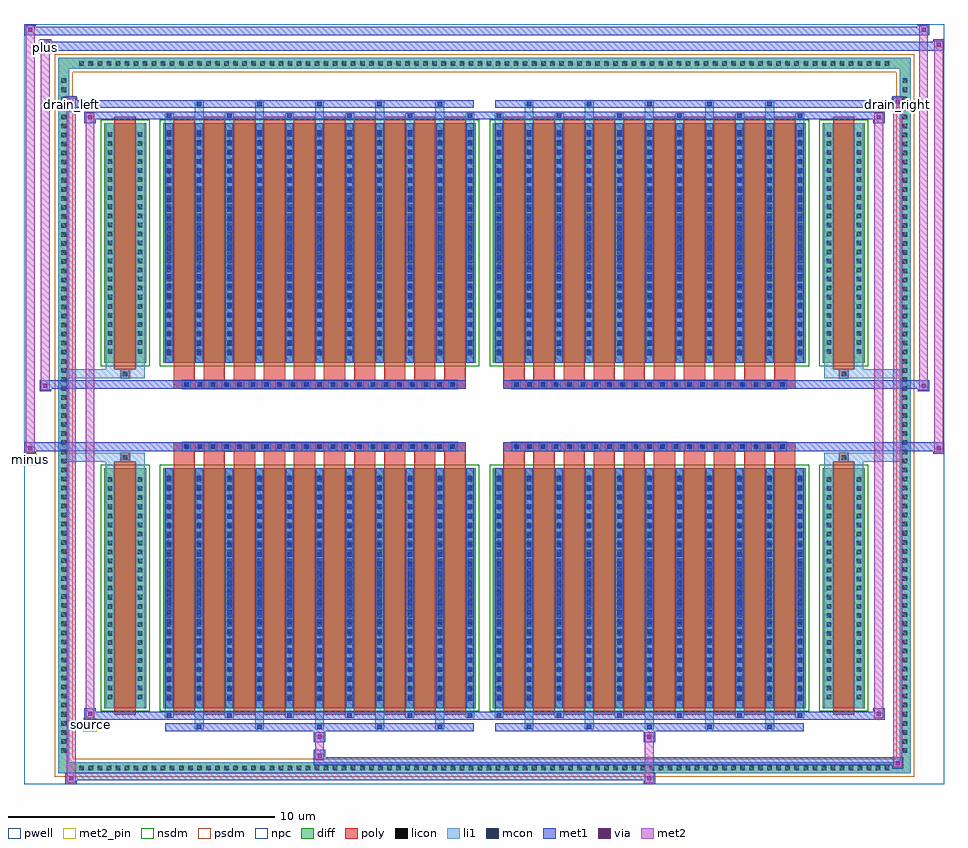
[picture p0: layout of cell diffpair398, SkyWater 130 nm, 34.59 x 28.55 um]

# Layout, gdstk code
import gdstk
lib = gdstk.Library(unit=1e-6, precision=5e-09)
def R(c, l, rs):  # rectangles x0, y0, x1, y1
    for r in rs: c.add(gdstk.rectangle(r[:2], r[2:], *l))
def A(c, l, x, y, w, h, nx, ny, dx, dy):  # array of equal rectangles
    R(c, l, [(x+i*dx, y+j*dy, x+i*dx+w, y+j*dy+h) for i in range(nx) for j in range(ny)])
def P(c, l, *ps):  # polygons
    for p in ps: c.add(gdstk.Polygon(p, *l))
pwell = (64, 44)
diff = (65, 20)
poly = (66, 20)
licon = (66, 44)
li1 = (67, 20)
mcon = (67, 44)
met1 = (68, 20)
via = (68, 44)
met2_pin = (69, 16)
met2 = (69, 20)
nsdm = (93, 44)
psdm = (94, 20)
npc = (95, 20)

diffpair398 = lib.new_cell('diffpair398')
R(diffpair398, pwell, [(-17.28,-13.84,17.28,14.71), (-14.6,-12.03,-0.01,-0.805), (0.01,-12.03,14.6,-0.805), (-14.6,0.805,-0.01,12.03), (0.01,0.805,14.6,12.03)])
A(diffpair398, diff, -15.335, -13.44, 0.41, 0.41, 90, 2, 0.34, 26.47)
A(diffpair398, diff, -16.01, -12.785, 0.41, 0.41, 1, 75, 0, 0.34)
A(diffpair398, diff, 15.6, -12.785, 0.41, 0.41, 1, 75, 0, 0.34)
R(diffpair398, diff, [(-15.335,-13.44,15.335,-13.03), (-16.01,-12.785,-15.6,12.785), (15.6,-12.785,16.01,12.785), (-14.29,-10.985,-12.71,-1.985), (-12.07,-10.985,-0.32,-1.985), (0.32,-10.985,12.07,-1.985), (12.71,-10.985,14.29,-1.985), (-14.29,1.985,-12.71,10.985), (-12.07,1.985,-0.32,10.985), (0.32,1.985,12.07,10.985), (12.71,1.985,14.29,10.985), (-15.335,13.03,15.335,13.44)])
P(diffpair398, diff, [(16.01,13.44),(-16.01,13.44),(-16.01,-13.03),(-15.6,-13.03),(-15.6,13.03),(15.6,13.03),(15.6,-13.03),(-15.6,-13.03),(-16.01,-13.03),(-16.01,-13.44),(16.01,-13.44)])
A(diffpair398, poly, -11.68, -11.235, 0.8, 9.5, 10, 2, 1.13, 12.97)
A(diffpair398, poly, 0.71, -11.235, 0.8, 9.5, 10, 2, 1.13, 12.97)
A(diffpair398, poly, -11.68, -1.735, 0.8, 0.4, 10, 2, 1.13, 3.07)
A(diffpair398, poly, 0.71, -1.735, 0.8, 0.4, 10, 2, 1.13, 3.07)
A(diffpair398, poly, -11.36, -1.335, 0.33, 0.33, 21, 2, 0.5, 2.34)
A(diffpair398, poly, 1.03, -1.335, 0.33, 0.33, 21, 2, 0.5, 2.34)
R(diffpair398, poly, [(-13.9,-11.235,-13.1,-1.735), (13.1,-11.235,13.9,-1.735), (-13.665,-1.735,-13.335,-1.405), (-13.665,-1.735,-13.335,-1.405), (13.335,-1.735,13.665,-1.405), (13.335,-1.735,13.665,-1.405), (-11.68,-1.335,-0.71,-1.005), (0.71,-1.335,11.68,-1.005), (-11.68,1.005,-0.71,1.335), (0.71,1.005,11.68,1.335), (-13.665,1.405,-13.335,1.735), (-13.665,1.405,-13.335,1.735), (13.335,1.405,13.665,1.735), (13.335,1.405,13.665,1.735), (-13.9,1.735,-13.1,11.235), (13.1,1.735,13.9,11.235)])
A(diffpair398, licon, -15.215, -13.32, 0.17, 0.17, 90, 2, 0.34, 26.47)
A(diffpair398, licon, -15.89, -12.665, 0.17, 0.17, 1, 75, 0, 0.34)
A(diffpair398, licon, 15.72, -12.665, 0.17, 0.17, 1, 75, 0, 0.34)
A(diffpair398, licon, -14.15, -10.65, 0.17, 0.17, 1, 25, 0, 0.34)
A(diffpair398, licon, -13.02, -10.65, 0.17, 0.17, 1, 25, 0, 0.34)
A(diffpair398, licon, -11.93, -10.65, 0.17, 0.17, 11, 25, 1.13, 0.34)
A(diffpair398, licon, 0.46, -10.65, 0.17, 0.17, 11, 25, 1.13, 0.34)
A(diffpair398, licon, 12.85, -10.65, 0.17, 0.17, 1, 25, 0, 0.34)
A(diffpair398, licon, 13.98, -10.65, 0.17, 0.17, 1, 25, 0, 0.34)
A(diffpair398, licon, -11.28, -1.255, 0.17, 0.17, 21, 2, 0.5, 2.34)
A(diffpair398, licon, 1.11, -1.255, 0.17, 0.17, 21, 2, 0.5, 2.34)
A(diffpair398, licon, -14.15, 2.32, 0.17, 0.17, 1, 25, 0, 0.34)
A(diffpair398, licon, -13.02, 2.32, 0.17, 0.17, 1, 25, 0, 0.34)
A(diffpair398, licon, -11.93, 2.32, 0.17, 0.17, 11, 25, 1.13, 0.34)
A(diffpair398, licon, 0.46, 2.32, 0.17, 0.17, 11, 25, 1.13, 0.34)
A(diffpair398, licon, 12.85, 2.32, 0.17, 0.17, 1, 25, 0, 0.34)
A(diffpair398, licon, 13.98, 2.32, 0.17, 0.17, 1, 25, 0, 0.34)
R(diffpair398, licon, [(-13.585,-1.655,-13.415,-1.485), (13.415,-1.655,13.585,-1.485), (-13.585,1.485,-13.415,1.655), (13.415,1.485,13.585,1.655)])
A(diffpair398, li1, -15.295, -13.4, 0.33, 0.33, 90, 2, 0.34, 26.47)
A(diffpair398, li1, -15.97, -12.745, 0.33, 0.33, 1, 75, 0, 0.34)
A(diffpair398, li1, 15.64, -12.745, 0.33, 0.33, 1, 75, 0, 0.34)
A(diffpair398, li1, -10.88, -11.79, 0.33, 0.805, 5, 2, 2.26, 22.775)
A(diffpair398, li1, -10.8, -11.79, 0.17, 0.17, 5, 2, 2.26, 23.41)
A(diffpair398, li1, 1.51, -11.79, 0.33, 0.805, 5, 2, 2.26, 22.775)
A(diffpair398, li1, 1.59, -11.79, 0.17, 0.17, 5, 2, 2.26, 23.41)
A(diffpair398, li1, -12.01, -11.36, 0.33, 0.375, 6, 2, 2.26, 22.345)
A(diffpair398, li1, -11.93, -11.36, 0.17, 0.17, 6, 2, 2.26, 22.55)
A(diffpair398, li1, 0.38, -11.36, 0.33, 0.375, 6, 2, 2.26, 22.345)
A(diffpair398, li1, 0.46, -11.36, 0.17, 0.17, 6, 2, 2.26, 22.55)
A(diffpair398, li1, -12.01, -10.985, 0.33, 9, 11, 2, 1.13, 12.97)
A(diffpair398, li1, 0.38, -10.985, 0.33, 9, 11, 2, 1.13, 12.97)
A(diffpair398, li1, -14.23, -10.73, 0.33, 0.33, 1, 25, 0, 0.34)
A(diffpair398, li1, -13.1, -10.73, 0.33, 0.33, 1, 25, 0, 0.34)
A(diffpair398, li1, -12.01, -10.73, 0.33, 0.33, 11, 25, 1.13, 0.34)
A(diffpair398, li1, 0.38, -10.73, 0.33, 0.33, 11, 25, 1.13, 0.34)
A(diffpair398, li1, 12.77, -10.73, 0.33, 0.33, 1, 25, 0, 0.34)
A(diffpair398, li1, 13.9, -10.73, 0.33, 0.33, 1, 25, 0, 0.34)
A(diffpair398, li1, -11.93, -10.71, 0.17, 0.17, 11, 24, 1.13, 0.36)
A(diffpair398, li1, -11.93, -10.71, 0.17, 8.45, 11, 2, 1.13, 12.97)
A(diffpair398, li1, 0.46, -10.71, 0.17, 0.17, 11, 24, 1.13, 0.36)
A(diffpair398, li1, 0.46, -10.71, 0.17, 8.45, 11, 2, 1.13, 12.97)
A(diffpair398, li1, -11.36, -1.335, 0.33, 0.33, 21, 2, 0.5, 2.34)
A(diffpair398, li1, 1.03, -1.335, 0.33, 0.33, 21, 2, 0.5, 2.34)
A(diffpair398, li1, -14.23, 2.24, 0.33, 0.33, 1, 25, 0, 0.34)
A(diffpair398, li1, -13.1, 2.24, 0.33, 0.33, 1, 25, 0, 0.34)
A(diffpair398, li1, -12.01, 2.24, 0.33, 0.33, 11, 25, 1.13, 0.34)
A(diffpair398, li1, 0.38, 2.24, 0.33, 0.33, 11, 25, 1.13, 0.34)
A(diffpair398, li1, 12.77, 2.24, 0.33, 0.33, 1, 25, 0, 0.34)
A(diffpair398, li1, 13.9, 2.24, 0.33, 0.33, 1, 25, 0, 0.34)
A(diffpair398, li1, -11.93, 2.26, 0.17, 0.17, 11, 24, 1.13, 0.36)
A(diffpair398, li1, 0.46, 2.26, 0.17, 0.17, 11, 24, 1.13, 0.36)
R(diffpair398, li1, [(-16.01,-13.44,-15.6,-13.03), (-16.01,-13.44,-15.6,-13.03), (-15.6,-13.44,15.6,-13.03), (15.6,-13.44,16.01,-13.03), (15.6,-13.44,16.01,-13.03), (-16.01,-13.03,-15.6,13.03), (15.6,-13.03,16.01,13.03), (-14.23,-10.985,-13.9,-1.985), (-13.1,-10.985,-12.77,-1.985), (12.77,-10.985,13.1,-1.985), (13.9,-10.985,14.23,-1.985), (-14.23,-1.985,-13.9,-1.405), (-13.1,-1.985,-12.77,-1.405), (12.77,-1.985,13.1,-1.405), (13.9,-1.985,14.23,-1.405), (-16.01,-1.735,-13.665,-1.405), (-14.23,-1.735,-13.665,-1.405), (-13.665,-1.735,-13.335,-1.405), (-13.335,-1.735,-12.77,-1.405), (12.77,-1.735,13.335,-1.405), (13.335,-1.735,13.665,-1.405), (13.335,-1.735,16.01,-1.405), (13.665,-1.735,14.23,-1.405), (-16.01,1.405,-13.665,1.735), (-14.23,1.405,-13.665,1.735), (-14.23,1.405,-13.9,1.985), (-13.665,1.405,-13.335,1.735), (-13.335,1.405,-12.77,1.735), (-13.1,1.405,-12.77,1.985), (12.77,1.405,13.335,1.735), (12.77,1.405,13.1,1.985), (13.335,1.405,13.665,1.735), (13.335,1.405,16.01,1.735), (13.665,1.405,14.23,1.735), (13.9,1.405,14.23,1.985), (-14.23,1.985,-13.9,10.985), (-13.1,1.985,-12.77,10.985), (12.77,1.985,13.1,10.985), (13.9,1.985,14.23,10.985), (-16.01,13.03,-15.6,13.44), (-16.01,13.03,-15.6,13.44), (-15.6,13.03,15.6,13.44), (15.6,13.03,16.01,13.44), (15.6,13.03,16.01,13.44)])
A(diffpair398, mcon, -10.8, -11.79, 0.17, 0.17, 5, 2, 2.26, 23.41)
A(diffpair398, mcon, 1.59, -11.79, 0.17, 0.17, 5, 2, 2.26, 23.41)
A(diffpair398, mcon, -11.93, -11.36, 0.17, 0.17, 6, 2, 2.26, 22.55)
A(diffpair398, mcon, 0.46, -11.36, 0.17, 0.17, 6, 2, 2.26, 22.55)
A(diffpair398, mcon, -11.93, -10.71, 0.17, 0.17, 11, 24, 1.13, 0.36)
A(diffpair398, mcon, 0.46, -10.71, 0.17, 0.17, 11, 24, 1.13, 0.36)
A(diffpair398, mcon, -11.28, -1.255, 0.17, 0.17, 21, 2, 0.5, 2.34)
A(diffpair398, mcon, 1.11, -1.255, 0.17, 0.17, 21, 2, 0.5, 2.34)
A(diffpair398, mcon, -11.93, 2.26, 0.17, 0.17, 11, 24, 1.13, 0.36)
A(diffpair398, mcon, 0.46, 2.26, 0.17, 0.17, 11, 24, 1.13, 0.36)
A(diffpair398, met1, -10.86, -11.85, 0.29, 0.29, 5, 2, 2.26, 23.41)
A(diffpair398, met1, 1.53, -11.85, 0.29, 0.29, 5, 2, 2.26, 23.41)
A(diffpair398, met1, -11.99, -11.42, 0.29, 0.29, 6, 2, 2.26, 22.55)
A(diffpair398, met1, 0.4, -11.42, 0.29, 0.29, 6, 2, 2.26, 22.55)
A(diffpair398, met1, -11.99, -10.985, 0.29, 9, 11, 2, 1.13, 12.97)
A(diffpair398, met1, 0.4, -10.985, 0.29, 9, 11, 2, 1.13, 12.97)
A(diffpair398, met1, -11.99, -10.77, 0.29, 0.29, 11, 24, 1.13, 0.36)
A(diffpair398, met1, 0.4, -10.77, 0.29, 0.29, 11, 24, 1.13, 0.36)
A(diffpair398, met1, -11.34, -1.315, 0.29, 0.29, 21, 2, 0.5, 2.34)
A(diffpair398, met1, 1.05, -1.315, 0.29, 0.29, 21, 2, 0.5, 2.34)
A(diffpair398, met1, -11.99, 2.2, 0.29, 0.29, 11, 24, 1.13, 0.36)
A(diffpair398, met1, 0.4, 2.2, 0.29, 0.29, 11, 24, 1.13, 0.36)
R(diffpair398, met1, [(-15.74,-13.84,-15.31,-13.41), (5.98,-13.84,6.41,-13.41), (-15.74,-13.7,6.41,-13.41), (15.31,-13.27,15.74,-12.84), (-6.41,-13.13,15.74,-12.84), (-6.41,-12.99,-5.98,-12.56), (-6.41,-12.28,-5.98,-11.85), (5.98,-12.28,6.41,-11.85), (-11.99,-11.85,-0.4,-11.56), (0.4,-11.85,11.99,-11.56), (-15.03,-11.42,-14.6,-10.99), (-15.03,-11.42,-11.99,-11.13), (-11.99,-11.42,-0.4,-11.13), (-0.4,-11.42,0.4,-11.13), (0.4,-11.42,11.99,-11.13), (11.99,-11.42,15.03,-11.13), (14.6,-11.42,15.03,-10.99), (-17.28,-1.435,-16.85,-1.005), (16.85,-1.435,17.28,-1.005), (-17.28,-1.335,-0.71,-1.005), (-11.68,-1.335,-0.71,-1.005), (0.71,-1.335,11.68,-1.005), (0.71,-1.335,17.28,-1.005), (-16.71,0.905,-16.28,1.335), (16.28,0.905,16.71,1.335), (-16.71,1.005,-11.68,1.335), (-11.68,1.005,-0.71,1.335), (0.71,1.005,11.68,1.335), (11.68,1.005,16.71,1.335), (-15.03,10.99,-14.6,11.42), (14.6,10.99,15.03,11.42), (-15.03,11.13,-11.99,11.42), (-11.99,11.13,-0.4,11.42), (-0.4,11.13,0.4,11.42), (0.4,11.13,11.99,11.42), (11.99,11.13,15.03,11.42), (-15.74,11.56,-15.31,11.99), (-15.74,11.56,-11.99,11.85), (-11.99,11.56,-0.4,11.85), (0.4,11.56,11.99,11.85), (11.99,11.56,15.74,11.85), (15.31,11.56,15.74,11.99), (-16.71,13.71,-16.28,14.14), (-16.71,13.71,-14.6,14.04), (-14.6,13.71,14.6,14.04), (14.6,13.71,17.28,14.04), (16.85,13.71,17.28,14.14), (-17.28,14.28,-16.85,14.71), (-17.28,14.28,-14.6,14.61), (-14.6,14.28,14.6,14.61), (14.6,14.28,16.71,14.61), (16.28,14.28,16.71,14.71)])
R(diffpair398, via, [(-15.6,-13.7,-15.45,-13.55), (6.12,-13.7,6.27,-13.55), (15.45,-13.13,15.6,-12.98), (-6.27,-12.85,-6.12,-12.7), (-6.27,-12.14,-6.12,-11.99), (6.12,-12.14,6.27,-11.99), (-14.89,-11.28,-14.74,-11.13), (14.74,-11.28,14.89,-11.13), (-17.14,-1.295,-16.99,-1.145), (16.99,-1.295,17.14,-1.145), (-16.57,1.045,-16.42,1.195), (16.42,1.045,16.57,1.195), (-14.89,11.13,-14.74,11.28), (14.74,11.13,14.89,11.28), (-15.6,11.7,-15.45,11.85), (15.45,11.7,15.6,11.85), (-16.57,13.85,-16.42,14), (16.99,13.85,17.14,14), (-17.14,14.42,-16.99,14.57), (16.42,14.42,16.57,14.57)])
R(diffpair398, met2_pin, [(-15.065,-11.87,-14.565,-11.37), (-17.315,-1.885,-16.815,-1.385), (-15.775,11.44,-15.275,11.94), (15.275,11.44,15.775,11.94), (-16.745,13.59,-16.245,14.09)])
R(diffpair398, met2, [(-15.69,-13.79,-15.36,-13.46), (-15.69,-13.79,-15.36,11.94), (6.03,-13.79,6.36,-13.46), (6.03,-13.46,6.36,-12.23), (15.36,-13.22,15.69,-12.89), (15.36,-13.22,15.69,11.94), (-6.36,-12.94,-6.03,-12.61), (-6.36,-12.61,-6.03,-12.23), (-6.36,-12.23,-6.03,-11.9), (6.03,-12.23,6.36,-11.9), (-14.98,-11.37,-14.65,-11.04), (-14.98,-11.37,-14.65,11.37), (14.65,-11.37,14.98,-11.04), (14.65,-11.37,14.98,11.37), (-17.23,-1.385,-16.9,-1.055), (-17.23,-1.385,-16.9,14.66), (16.9,-1.385,17.23,-1.055), (16.9,-1.385,17.23,14.09), (-16.66,0.955,-16.33,1.285), (-16.66,0.955,-16.33,14.09), (16.33,0.955,16.66,1.285), (16.33,0.955,16.66,14.66), (-14.98,11.04,-14.65,11.37), (14.65,11.04,14.98,11.37), (-15.69,11.61,-15.36,11.94), (15.36,11.61,15.69,11.94), (-16.66,13.76,-16.33,14.09), (16.9,13.76,17.23,14.09), (-17.23,14.33,-16.9,14.66), (16.33,14.33,16.66,14.66)])
P(diffpair398, met2, [(17.23,-1.385),(17.23,-1.385),(17.23,-1.055),(17.23,-1.055)],
  [(17.23,13.76),(17.23,13.76),(17.23,14.09),(17.23,14.09)],
  [(-16.9,-1.385),(-16.9,-1.385),(-16.9,-1.055),(-16.9,-1.055)],
  [(-16.9,14.33),(-16.9,14.33),(-16.9,14.66),(-16.9,14.66)],
  [(16.66,0.955),(16.66,0.955),(16.66,1.285),(16.66,1.285)],
  [(16.66,14.33),(16.66,14.33),(16.66,14.66),(16.66,14.66)],
  [(-16.33,0.955),(-16.33,0.955),(-16.33,1.285),(-16.33,1.285)],
  [(-16.33,13.76),(-16.33,13.76),(-16.33,14.09),(-16.33,14.09)],
  [(-15.36,-13.79),(-15.36,-13.79),(-15.36,-13.46),(-15.36,-13.46)],
  [(-15.36,11.61),(-15.36,11.61),(-15.36,11.94),(-15.36,11.94)],
  [(15.69,-13.22),(15.69,-13.22),(15.69,-12.89),(15.69,-12.89)],
  [(15.69,11.61),(15.69,11.61),(15.69,11.94),(15.69,11.94)],
  [(-14.65,-11.37),(-14.65,-11.37),(-14.65,-11.04),(-14.65,-11.04)],
  [(-14.65,11.04),(-14.65,11.04),(-14.65,11.37),(-14.65,11.37)],
  [(14.98,-11.37),(14.98,-11.37),(14.98,-11.04),(14.98,-11.04)],
  [(14.98,11.04),(14.98,11.04),(14.98,11.37),(14.98,11.37)])
R(diffpair398, nsdm, [(-14.42,-11.115,-12.58,-1.855), (-12.2,-11.115,-0.19,-1.855), (0.19,-11.115,12.2,-1.855), (12.58,-11.115,14.42,-1.855), (-14.42,1.855,-12.58,11.115), (-12.2,1.855,-0.19,11.115), (0.19,1.855,12.2,11.115), (12.58,1.855,14.42,11.115)])
P(diffpair398, psdm, [(16.14,13.57),(-16.14,13.57),(-16.14,-12.9),(-15.47,-12.9),(-15.47,12.9),(15.47,12.9),(15.47,-12.9),(-15.47,-12.9),(-16.14,-12.9),(-16.14,-13.57),(16.14,-13.57)])
A(diffpair398, npc, -11.38, -1.355, 0.37, 0.37, 21, 2, 0.5, 2.34)
A(diffpair398, npc, 1.01, -1.355, 0.37, 0.37, 21, 2, 0.5, 2.34)
R(diffpair398, npc, [(-13.685,-1.755,-13.315,-1.385), (13.315,-1.755,13.685,-1.385), (-11.38,-1.355,-10.51,-0.985), (-11.38,-1.355,-10.51,-0.985), (-10.88,-1.355,-10.01,-0.985), (-10.88,-1.355,-10.01,-0.985), (-10.38,-1.355,-9.51,-0.985), (-10.38,-1.355,-9.51,-0.985), (-9.88,-1.355,-9.01,-0.985), (-9.88,-1.355,-9.01,-0.985), (-9.38,-1.355,-8.51,-0.985), (-9.38,-1.355,-8.51,-0.985), (-8.88,-1.355,-8.01,-0.985), (-8.88,-1.355,-8.01,-0.985), (-8.38,-1.355,-7.51,-0.985), (-8.38,-1.355,-7.51,-0.985), (-7.88,-1.355,-7.01,-0.985), (-7.88,-1.355,-7.01,-0.985), (-7.38,-1.355,-6.51,-0.985), (-7.38,-1.355,-6.51,-0.985), (-6.88,-1.355,-6.01,-0.985), (-6.88,-1.355,-6.01,-0.985), (-6.38,-1.355,-5.51,-0.985), (-6.38,-1.355,-5.51,-0.985), (-5.88,-1.355,-5.01,-0.985), (-5.88,-1.355,-5.01,-0.985), (-5.38,-1.355,-4.51,-0.985), (-5.38,-1.355,-4.51,-0.985), (-4.88,-1.355,-4.01,-0.985), (-4.88,-1.355,-4.01,-0.985), (-4.38,-1.355,-3.51,-0.985), (-4.38,-1.355,-3.51,-0.985), (-3.88,-1.355,-3.01,-0.985), (-3.88,-1.355,-3.01,-0.985), (-3.38,-1.355,-2.51,-0.985), (-3.38,-1.355,-2.51,-0.985), (-2.88,-1.355,-2.01,-0.985), (-2.88,-1.355,-2.01,-0.985), (-2.38,-1.355,-1.51,-0.985), (-2.38,-1.355,-1.51,-0.985), (-1.88,-1.355,-1.01,-0.985), (-1.88,-1.355,-1.01,-0.985), (1.01,-1.355,1.88,-0.985), (1.01,-1.355,1.88,-0.985), (1.51,-1.355,2.38,-0.985), (1.51,-1.355,2.38,-0.985), (2.01,-1.355,2.88,-0.985), (2.01,-1.355,2.88,-0.985), (2.51,-1.355,3.38,-0.985), (2.51,-1.355,3.38,-0.985), (3.01,-1.355,3.88,-0.985), (3.01,-1.355,3.88,-0.985), (3.51,-1.355,4.38,-0.985), (3.51,-1.355,4.38,-0.985), (4.01,-1.355,4.88,-0.985), (4.01,-1.355,4.88,-0.985), (4.51,-1.355,5.38,-0.985), (4.51,-1.355,5.38,-0.985), (5.01,-1.355,5.88,-0.985), (5.01,-1.355,5.88,-0.985), (5.51,-1.355,6.38,-0.985), (5.51,-1.355,6.38,-0.985), (6.01,-1.355,6.88,-0.985), (6.01,-1.355,6.88,-0.985), (6.51,-1.355,7.38,-0.985), (6.51,-1.355,7.38,-0.985), (7.01,-1.355,7.88,-0.985), (7.01,-1.355,7.88,-0.985), (7.51,-1.355,8.38,-0.985), (7.51,-1.355,8.38,-0.985), (8.01,-1.355,8.88,-0.985), (8.01,-1.355,8.88,-0.985), (8.51,-1.355,9.38,-0.985), (8.51,-1.355,9.38,-0.985), (9.01,-1.355,9.88,-0.985), (9.01,-1.355,9.88,-0.985), (9.51,-1.355,10.38,-0.985), (9.51,-1.355,10.38,-0.985), (10.01,-1.355,10.88,-0.985), (10.01,-1.355,10.88,-0.985), (10.51,-1.355,11.38,-0.985), (10.51,-1.355,11.38,-0.985), (-11.38,0.985,-10.51,1.355), (-11.38,0.985,-10.51,1.355), (-10.88,0.985,-10.01,1.355), (-10.88,0.985,-10.01,1.355), (-10.38,0.985,-9.51,1.355), (-10.38,0.985,-9.51,1.355), (-9.88,0.985,-9.01,1.355), (-9.88,0.985,-9.01,1.355), (-9.38,0.985,-8.51,1.355), (-9.38,0.985,-8.51,1.355), (-8.88,0.985,-8.01,1.355), (-8.88,0.985,-8.01,1.355), (-8.38,0.985,-7.51,1.355), (-8.38,0.985,-7.51,1.355), (-7.88,0.985,-7.01,1.355), (-7.88,0.985,-7.01,1.355), (-7.38,0.985,-6.51,1.355), (-7.38,0.985,-6.51,1.355), (-6.88,0.985,-6.01,1.355), (-6.88,0.985,-6.01,1.355), (-6.38,0.985,-5.51,1.355), (-6.38,0.985,-5.51,1.355), (-5.88,0.985,-5.01,1.355), (-5.88,0.985,-5.01,1.355), (-5.38,0.985,-4.51,1.355), (-5.38,0.985,-4.51,1.355), (-4.88,0.985,-4.01,1.355), (-4.88,0.985,-4.01,1.355), (-4.38,0.985,-3.51,1.355), (-4.38,0.985,-3.51,1.355), (-3.88,0.985,-3.01,1.355), (-3.88,0.985,-3.01,1.355), (-3.38,0.985,-2.51,1.355), (-3.38,0.985,-2.51,1.355), (-2.88,0.985,-2.01,1.355), (-2.88,0.985,-2.01,1.355), (-2.38,0.985,-1.51,1.355), (-2.38,0.985,-1.51,1.355), (-1.88,0.985,-1.01,1.355), (-1.88,0.985,-1.01,1.355), (1.01,0.985,1.88,1.355), (1.01,0.985,1.88,1.355), (1.51,0.985,2.38,1.355), (1.51,0.985,2.38,1.355), (2.01,0.985,2.88,1.355), (2.01,0.985,2.88,1.355), (2.51,0.985,3.38,1.355), (2.51,0.985,3.38,1.355), (3.01,0.985,3.88,1.355), (3.01,0.985,3.88,1.355), (3.51,0.985,4.38,1.355), (3.51,0.985,4.38,1.355), (4.01,0.985,4.88,1.355), (4.01,0.985,4.88,1.355), (4.51,0.985,5.38,1.355), (4.51,0.985,5.38,1.355), (5.01,0.985,5.88,1.355), (5.01,0.985,5.88,1.355), (5.51,0.985,6.38,1.355), (5.51,0.985,6.38,1.355), (6.01,0.985,6.88,1.355), (6.01,0.985,6.88,1.355), (6.51,0.985,7.38,1.355), (6.51,0.985,7.38,1.355), (7.01,0.985,7.88,1.355), (7.01,0.985,7.88,1.355), (7.51,0.985,8.38,1.355), (7.51,0.985,8.38,1.355), (8.01,0.985,8.88,1.355), (8.01,0.985,8.88,1.355), (8.51,0.985,9.38,1.355), (8.51,0.985,9.38,1.355), (9.01,0.985,9.88,1.355), (9.01,0.985,9.88,1.355), (9.51,0.985,10.38,1.355), (9.51,0.985,10.38,1.355), (10.01,0.985,10.88,1.355), (10.01,0.985,10.88,1.355), (10.51,0.985,11.38,1.355), (10.51,0.985,11.38,1.355), (-13.685,1.385,-13.315,1.755), (13.315,1.385,13.685,1.755)])
diffpair398.add(gdstk.Label('minus', (-17.065,-1.635), layer=69, texttype=5))
diffpair398.add(gdstk.Label('drain_right', (15.525,11.69), layer=69, texttype=5))
diffpair398.add(gdstk.Label('drain_left', (-15.525,11.69), layer=69, texttype=5))
diffpair398.add(gdstk.Label('source', (-14.815,-11.62), layer=69, texttype=5))
diffpair398.add(gdstk.Label('plus', (-16.495,13.84), layer=69, texttype=5))

lib.write_gds('diffpair398.gds')
